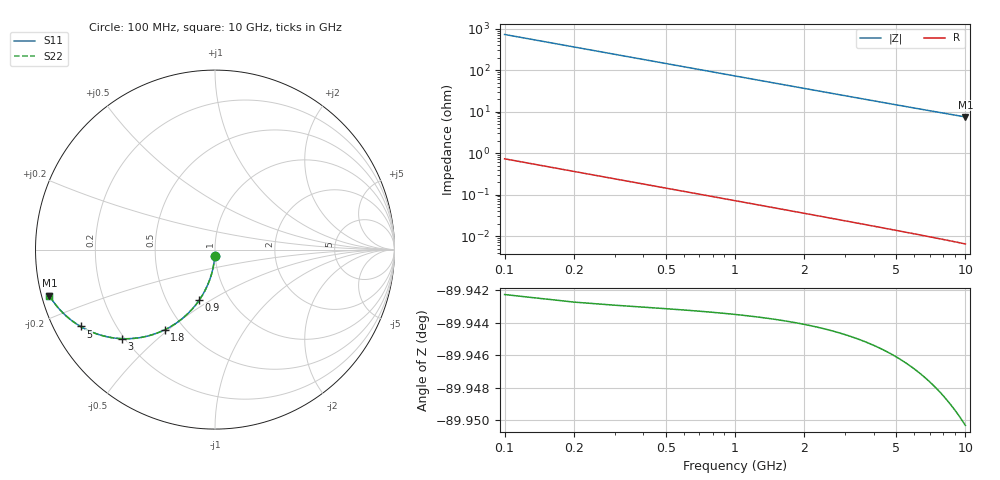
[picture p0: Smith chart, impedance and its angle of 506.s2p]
# Hz S RI R 50.00
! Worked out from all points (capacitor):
!   100 points, 100 MHz to 10 GHz, reference 50 ohm
!   read as one part in shunt: C = 2.2 pF near 100 MHz
!   lowest |Z| = 7.45 ohm at 10 GHz (marker M1)
!   S11 on the Smith chart (normalised r, x): 100 MHz: 1.00, -0.07; 900 MHz: 0.72, -0.45; 1.8 GHz: 0.39, -0.49; 3 GHz: 0.19, -0.39; 5 GHz: 0.08, -0.26; 10 GHz: 0.02, -0.14
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1e8  -0.00119 -0.0345  0.9987 -0.0347  0.9987 -0.0347  -0.00119 -0.0345
2e8  -0.0048 -0.0687  0.9951 -0.0691  0.9951 -0.0691  -0.0048 -0.0687
3e8  -0.0107 -0.1024  0.9892 -0.103  0.9892 -0.103  -0.0107 -0.1024
4e8  -0.0189 -0.1354  0.981 -0.1362  0.981 -0.1362  -0.0189 -0.1354
5e8  -0.0292 -0.1675  0.9707 -0.1684  0.9707 -0.1684  -0.0292 -0.1675
6e8  -0.0415 -0.1984  0.9584 -0.1996  0.9584 -0.1996  -0.0415 -0.1984
7e8  -0.0556 -0.2281  0.9443 -0.2294  0.9443 -0.2294  -0.0556 -0.2281
9e8  -0.0886 -0.2829  0.9113 -0.2846  0.9113 -0.2846  -0.0886 -0.2829
1.1e9  -0.1268 -0.3312  0.8732 -0.3333  0.8732 -0.3333  -0.1268 -0.3312
1.3e9  -0.1685 -0.3726  0.8314 -0.3751  0.8314 -0.3751  -0.1685 -0.3726
1.5e9  -0.2124 -0.4071  0.7875 -0.41  0.7875 -0.41  -0.2124 -0.4071
1.8e9  -0.2796 -0.4466  0.7203 -0.4501  0.7203 -0.4501  -0.2796 -0.4466
2.4e9  -0.4081 -0.4887  0.5918 -0.4933  0.5918 -0.4933  -0.4081 -0.4887
3e9  -0.5184 -0.4963  0.4815 -0.502  0.4815 -0.502  -0.5184 -0.4963
3.4e9  -0.5802 -0.4897  0.4197 -0.4963  0.4197 -0.4963  -0.5802 -0.4897
4.2e9  -0.6782 -0.4626  0.3217 -0.4707  0.3217 -0.4707  -0.6782 -0.4626
5e9  -0.7491 -0.4281  0.2507 -0.4378  0.2507 -0.4378  -0.7491 -0.4281
5.1e9  -0.7565 -0.4237  0.2434 -0.4336  0.2434 -0.4336  -0.7565 -0.4237
5.9e9  -0.8061 -0.389  0.1937 -0.4005  0.1937 -0.4005  -0.8061 -0.389
6.7e9  -0.8428 -0.3568  0.157 -0.3699  0.157 -0.3699  -0.8428 -0.3568
8.4e9  -0.8941 -0.2988  0.1057 -0.3153  0.1057 -0.3153  -0.8941 -0.2988
1e10  -0.923 -0.2559  0.0767 -0.2757  0.0767 -0.2757  -0.923 -0.2559
